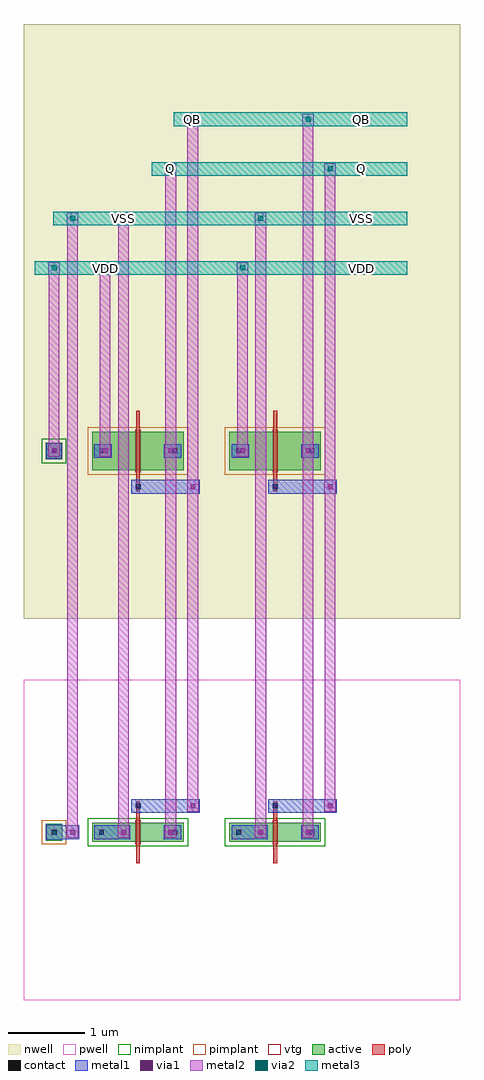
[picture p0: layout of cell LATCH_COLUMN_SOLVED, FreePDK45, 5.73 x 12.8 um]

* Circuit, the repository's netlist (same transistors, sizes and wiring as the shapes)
.subckt LATCH_COLUMN_SOLVED VDD VSS Q QB
M0 Q QB VDD VDD PMOS_VTG W=0.5U L=0.05U
M1 Q QB VSS VSS NMOS_VTG W=0.25U L=0.05U
M2 QB Q VDD VDD PMOS_VTG W=0.5U L=0.05U
M3 QB Q VSS VSS NMOS_VTG W=0.25U L=0.05U
.ends LATCH_COLUMN_SOLVED
.end

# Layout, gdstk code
import gdstk
lib = gdstk.Library(unit=1e-6, precision=5e-10)
def R(c, l, rs):  # rectangles x0, y0, x1, y1
    for r in rs: c.add(gdstk.rectangle(r[:2], r[2:], *l))
active = (1, 0)
pwell = (2, 0)
nwell = (3, 0)
nimplant = (4, 0)
pimplant = (5, 0)
vtg = (6, 0)
poly = (9, 0)
contact = (10, 0)
metal1 = (11, 0)
via1 = (12, 0)
metal2 = (13, 0)
via2 = (14, 0)
metal3 = (15, 0)

latch_column_solved = lib.new_cell('LATCH_COLUMN_SOLVED')
R(latch_column_solved, active, [(0.6,1.875,1.8,2.125), (2.4,1.875,3.6,2.125), (-0.01,1.89,0.21,2.11), (0.6,6.75,1.8,7.25), (2.4,6.75,3.6,7.25), (-0.01,6.89,0.21,7.11)])
R(latch_column_solved, pwell, [(-0.3,-0.2,5.43,4)])
R(latch_column_solved, nwell, [(-0.3,4.8,5.43,12.6)])
R(latch_column_solved, nimplant, [(0.54,1.815,1.86,2.185), (2.34,1.815,3.66,2.185), (-0.06,6.84,0.26,7.16)])
R(latch_column_solved, pimplant, [(-0.06,1.84,0.26,2.16), (0.54,6.69,1.86,7.31), (2.34,6.69,3.66,7.31)])
R(latch_column_solved, vtg, [(1.165,1.845,1.235,2.155), (2.965,1.845,3.035,2.155), (1.165,6.72,1.235,7.28), (2.965,6.72,3.035,7.28)])
R(latch_column_solved, poly, [(1.175,1.595,1.225,2.405), (2.975,1.595,3.025,2.405), (1.175,6.47,1.225,7.53), (2.975,6.47,3.025,7.53)])
R(latch_column_solved, contact, [(0.07,1.97,0.135,2.035), (0.69,1.97,0.755,2.035), (1.65,1.97,1.715,2.035), (2.49,1.97,2.555,2.035), (3.45,1.97,3.515,2.035), (1.17,2.315,1.235,2.38), (2.97,2.315,3.035,2.38), (1.17,6.5,1.235,6.565), (2.97,6.5,3.035,6.565), (0.07,6.97,0.135,7.035), (0.69,6.97,0.755,7.035), (1.65,6.97,1.715,7.035), (2.49,6.97,2.555,7.035), (3.45,6.97,3.515,7.035)])
R(latch_column_solved, metal1, [(0,1.9,0.2,2.1), (0.1,1.91,0.34,2.09), (0.1,1.91,0.34,2.09), (0.1,1.91,0.34,2.09), (0.25,1.91,0.43,2.09), (0.25,1.91,0.43,2.09), (0.25,1.91,0.43,2.09), (0.63,1.91,0.81,2.09), (0.77,1.91,1.01,2.09), (0.92,1.91,1.1,2.09), (1.54,1.91,1.72,2.09), (1.59,1.91,1.77,2.09), (2.43,1.91,2.61,2.09), (2.57,1.91,2.81,2.09), (2.72,1.91,2.9,2.09), (3.34,1.91,3.52,2.09), (3.39,1.91,3.57,2.09), (1.11,2.255,1.29,2.435), (1.2,2.255,1.92,2.435), (1.83,2.255,2.01,2.435), (2.91,2.255,3.09,2.435), (3,2.255,3.72,2.435), (3.63,2.255,3.81,2.435), (1.11,6.44,1.29,6.62), (1.2,6.44,1.92,6.62), (1.83,6.44,2.01,6.62), (2.91,6.44,3.09,6.62), (3,6.44,3.72,6.62), (3.63,6.44,3.81,6.62), (0,6.9,0.2,7.1), (0.01,6.91,0.19,7.09), (0.01,6.91,0.19,7.09), (0.01,6.91,0.19,7.09), (0.63,6.91,0.81,7.09), (0.68,6.91,0.86,7.09), (1.54,6.91,1.72,7.09), (1.59,6.91,1.77,7.09), (2.43,6.91,2.61,7.09), (2.48,6.91,2.66,7.09), (3.34,6.91,3.52,7.09), (3.39,6.91,3.57,7.09)])
R(latch_column_solved, via1, [(0.31,1.97,0.375,2.035), (0.31,1.97,0.375,2.035), (0.31,1.97,0.375,2.035), (0.98,1.97,1.045,2.035), (1.6,1.97,1.665,2.035), (2.78,1.97,2.845,2.035), (3.4,1.97,3.465,2.035), (1.89,2.315,1.955,2.38), (3.69,2.315,3.755,2.38), (1.89,6.5,1.955,6.565), (3.69,6.5,3.755,6.565), (0.07,6.97,0.135,7.035), (0.07,6.97,0.135,7.035), (0.07,6.97,0.135,7.035), (0.74,6.97,0.805,7.035), (1.6,6.97,1.665,7.035), (2.54,6.97,2.605,7.035), (3.4,6.97,3.465,7.035)])
R(latch_column_solved, metal2, [(0.265,1.925,0.415,2.075), (0.265,1.925,0.415,2.075), (0.265,1.925,0.415,2.075), (0.935,1.925,1.085,2.075), (1.555,1.925,1.705,2.075), (2.735,1.925,2.885,2.075), (3.355,1.925,3.505,2.075), (0.27,2,0.41,10.05), (0.27,2,0.41,10.05), (0.27,2,0.41,10.05), (0.94,2,1.08,10.05), (1.56,2,1.7,10.7), (2.74,2,2.88,10.05), (3.36,2,3.5,11.35), (1.845,2.27,1.995,2.42), (3.645,2.27,3.795,2.42), (1.85,2.345,1.99,11.35), (3.65,2.345,3.79,10.7), (1.845,6.455,1.995,6.605), (3.645,6.455,3.795,6.605), (1.85,6.53,1.99,11.35), (3.65,6.53,3.79,10.7), (0.025,6.925,0.175,7.075), (0.025,6.925,0.175,7.075), (0.025,6.925,0.175,7.075), (0.695,6.925,0.845,7.075), (1.555,6.925,1.705,7.075), (2.495,6.925,2.645,7.075), (3.355,6.925,3.505,7.075), (0.03,7,0.17,9.4), (0.03,7,0.17,9.4), (0.03,7,0.17,9.4), (0.7,7,0.84,9.4), (1.56,7,1.7,10.7), (2.5,7,2.64,9.4), (3.36,7,3.5,11.35), (0.025,9.325,0.175,9.475), (0.025,9.325,0.175,9.475), (0.025,9.325,0.175,9.475), (0.695,9.325,0.845,9.475), (2.495,9.325,2.645,9.475), (0.265,9.975,0.415,10.125), (0.265,9.975,0.415,10.125), (0.265,9.975,0.415,10.125), (0.935,9.975,1.085,10.125), (2.735,9.975,2.885,10.125), (1.555,10.625,1.705,10.775), (1.555,10.625,1.705,10.775), (3.645,10.625,3.795,10.775), (3.645,10.625,3.795,10.775), (1.845,11.275,1.995,11.425), (1.845,11.275,1.995,11.425), (3.355,11.275,3.505,11.425), (3.355,11.275,3.505,11.425)])
R(latch_column_solved, via2, [(0.07,9.37,0.135,9.435), (0.07,9.37,0.135,9.435), (0.07,9.37,0.135,9.435), (0.74,9.37,0.805,9.435), (2.54,9.37,2.605,9.435), (0.31,10.02,0.375,10.085), (0.31,10.02,0.375,10.085), (0.31,10.02,0.375,10.085), (0.98,10.02,1.045,10.085), (2.78,10.02,2.845,10.085), (1.6,10.67,1.665,10.735), (1.6,10.67,1.665,10.735), (3.69,10.67,3.755,10.735), (3.69,10.67,3.755,10.735), (1.89,11.32,1.955,11.385), (1.89,11.32,1.955,11.385), (3.4,11.32,3.465,11.385), (3.4,11.32,3.465,11.385)])
R(latch_column_solved, metal3, [(-0.15,9.31,2.82,9.49), (2.82,9.31,4.73,9.49), (0.025,9.325,0.175,9.475), (0.025,9.325,0.175,9.475), (0.025,9.325,0.175,9.475), (0.695,9.325,0.845,9.475), (2.495,9.325,2.645,9.475), (0.09,9.96,3.06,10.14), (3.06,9.96,4.73,10.14), (0.265,9.975,0.415,10.125), (0.265,9.975,0.415,10.125), (0.265,9.975,0.415,10.125), (0.935,9.975,1.085,10.125), (2.735,9.975,2.885,10.125), (1.38,10.61,3.97,10.79), (3.97,10.61,4.73,10.79), (1.555,10.625,1.705,10.775), (1.555,10.625,1.705,10.775), (3.645,10.625,3.795,10.775), (3.645,10.625,3.795,10.775), (1.67,11.26,3.68,11.44), (3.68,11.26,4.73,11.44), (1.845,11.275,1.995,11.425), (1.845,11.275,1.995,11.425), (3.355,11.275,3.505,11.425), (3.355,11.275,3.505,11.425)])
latch_column_solved.add(gdstk.Label('VDD', (4.13,9.4), layer=15, texttype=0))
latch_column_solved.add(gdstk.Label('VDD', (4.13,9.4), layer=15, texttype=1))
latch_column_solved.add(gdstk.Label('VDD', (4.13,9.4), layer=15, texttype=2))
latch_column_solved.add(gdstk.Label('VDD', (0.77,9.4), layer=13, texttype=0))
latch_column_solved.add(gdstk.Label('VDD', (0.77,9.4), layer=13, texttype=1))
latch_column_solved.add(gdstk.Label('VDD', (0.77,9.4), layer=13, texttype=2))
latch_column_solved.add(gdstk.Label('VSS', (4.13,10.05), layer=15, texttype=0))
latch_column_solved.add(gdstk.Label('VSS', (4.13,10.05), layer=15, texttype=1))
latch_column_solved.add(gdstk.Label('VSS', (4.13,10.05), layer=15, texttype=2))
latch_column_solved.add(gdstk.Label('VSS', (1.01,10.05), layer=13, texttype=0))
latch_column_solved.add(gdstk.Label('VSS', (1.01,10.05), layer=13, texttype=1))
latch_column_solved.add(gdstk.Label('VSS', (1.01,10.05), layer=13, texttype=2))
latch_column_solved.add(gdstk.Label('Q', (4.13,10.7), layer=15, texttype=0))
latch_column_solved.add(gdstk.Label('Q', (4.13,10.7), layer=15, texttype=1))
latch_column_solved.add(gdstk.Label('Q', (4.13,10.7), layer=15, texttype=2))
latch_column_solved.add(gdstk.Label('Q', (1.63,10.7), layer=13, texttype=0))
latch_column_solved.add(gdstk.Label('Q', (1.63,10.7), layer=13, texttype=1))
latch_column_solved.add(gdstk.Label('Q', (1.63,10.7), layer=13, texttype=2))
latch_column_solved.add(gdstk.Label('QB', (4.13,11.35), layer=15, texttype=0))
latch_column_solved.add(gdstk.Label('QB', (4.13,11.35), layer=15, texttype=1))
latch_column_solved.add(gdstk.Label('QB', (4.13,11.35), layer=15, texttype=2))
latch_column_solved.add(gdstk.Label('QB', (1.92,11.35), layer=13, texttype=0))
latch_column_solved.add(gdstk.Label('QB', (1.92,11.35), layer=13, texttype=1))
latch_column_solved.add(gdstk.Label('QB', (1.92,11.35), layer=13, texttype=2))

lib.write_gds('LATCH_COLUMN_SOLVED.gds')
